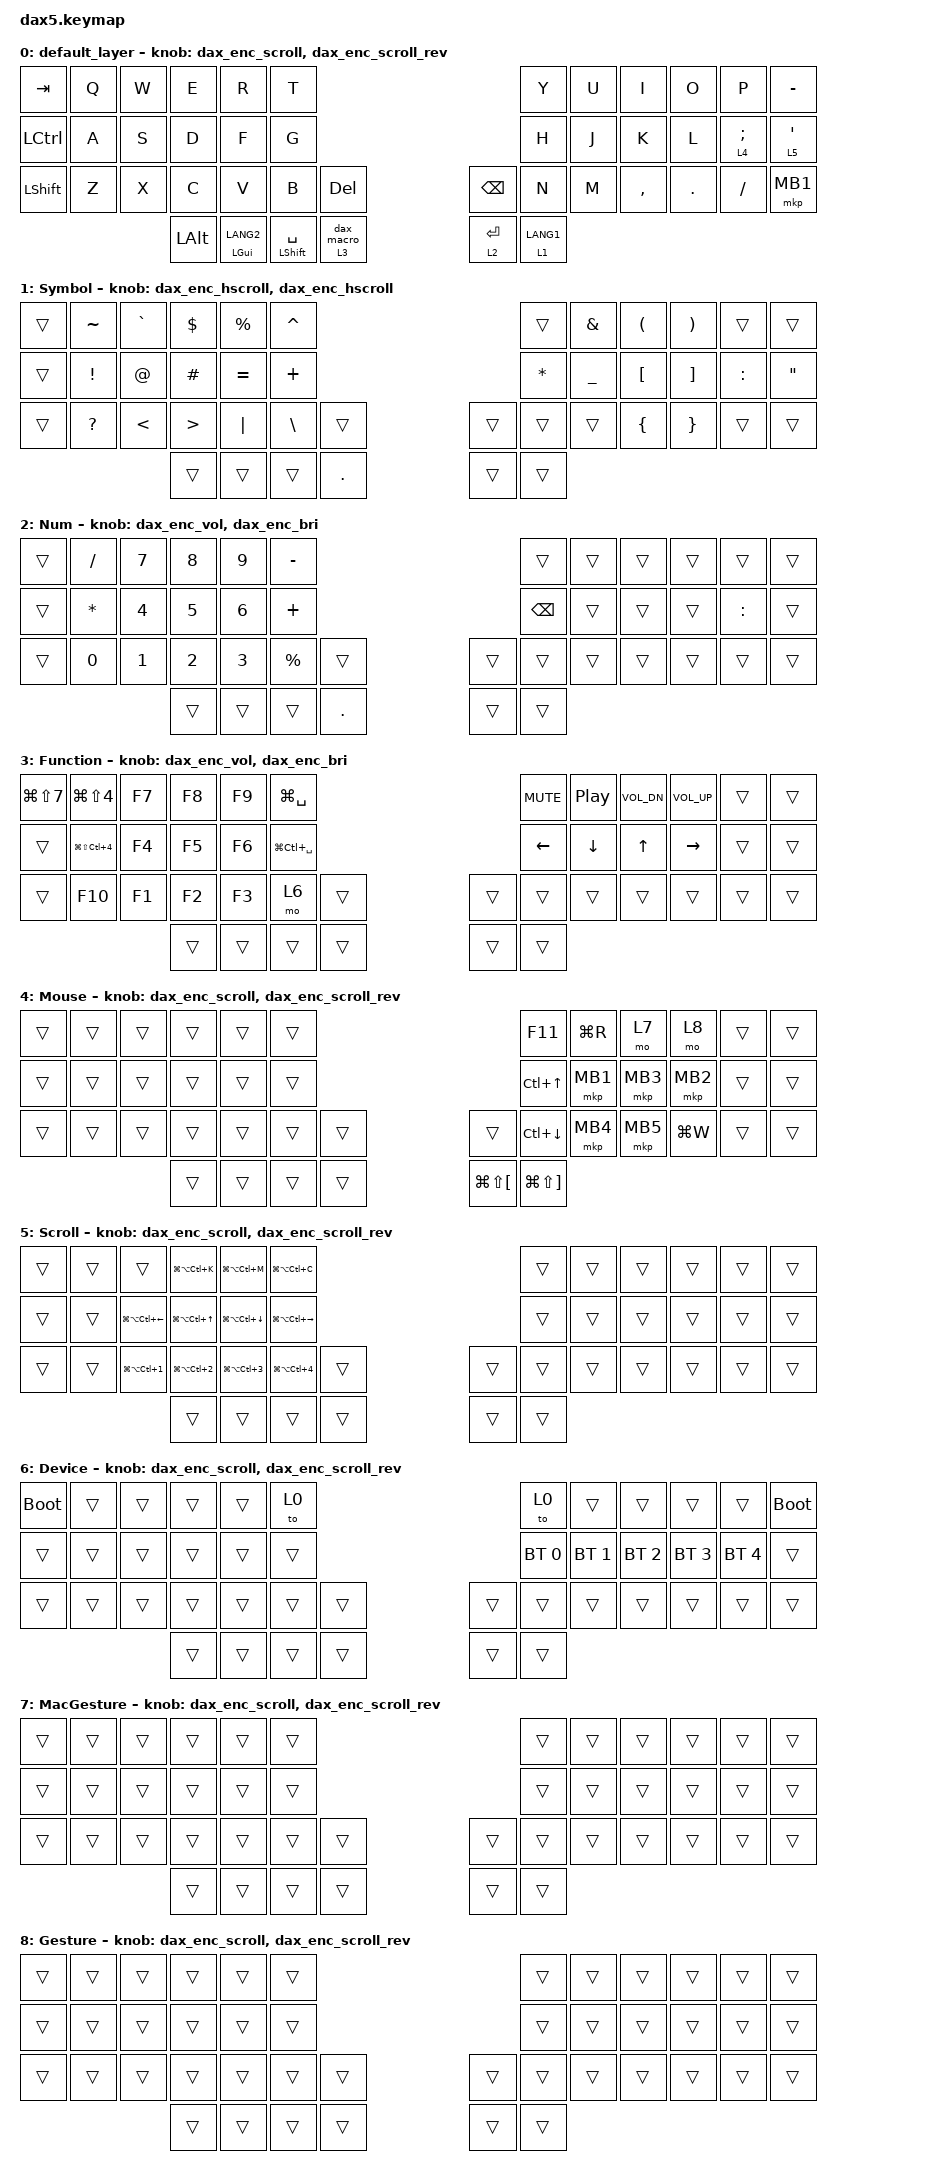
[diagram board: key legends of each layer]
#define ZMK_POINTING_DEFAULT_SCRL_VAL 120

#include <behaviors.dtsi>
#include <behaviors/dax_macro.dtsi>
#include <dt-bindings/zmk/bt.h>
#include <dt-bindings/zmk/keys.h>
#include <dt-bindings/zmk/pointing.h>

#define MOUSE 4
#define SCROLL 5
#define NUM 6
#define MAC_GESTURE 7
#define GESTURE 8

#include "gestures.dtsi"

&mt {
    quick-tap-ms = <0>;
    tapping-term-ms = <160>;
    flavor = "balanced";
};

&lt {
    flavor = "balanced";
    tapping-term-ms = <160>;
    quick-tap-ms = <0>;
};

/ {
    // Compile-time defaults for the runtime combos (`dax_combo`). A
    // slot edited or deleted from a settings app keeps that stored value.
    runtime_combo_defaults {
        compatible = "dax,runtime-combo-defaults";

        mo_device {
            slot = <0>;
            bindings = <&mo 6>;
            key-positions = <0 29>;
            layers = <0>;
        };

        kl_scroll {
            slot = <1>;
            bindings = <&mo 5>;
            key-positions = <20 21>;
            layers = <0>;
        };

        to_device_l {
            slot = <2>;
            bindings = <&to 6>;
            key-positions = <0 12 24>;
            layers = <0>;
        };

        to_device_r {
            slot = <3>;
            bindings = <&to 6>;
            key-positions = <11 23 37>;
            layers = <0>;
        };
    };

    // Compile-time defaults for the macros (`dax_macro`), each in a fixed slot. A slot
    // edited or deleted from a settings app keeps that stored value.
    // `esc_lang2_with_layer` passes the slot number of esc_lang2 as its tap parameter.
    runtime_macro_defaults {
        compatible = "dax,runtime-macro-defaults";

        esc_lang2 {
            slot = <0>;
            bindings = <&macro_tap>, <&kp ESCAPE &kp LANG2>;
            wait-ms = <15>;
        };
    };

    // The dax_enc_* behaviors below (zmk-dax-modules' dax,behavior-encoder) are the
    // encoders' defaults. A settings app changes the binding of each sensor, layer
    // and direction at runtime, and a layer is editable there only when its
    // sensor-bindings name one of them. Every variant sets tap-ms to 20, including
    // the &kp ones: &msc ticks every 16 ms, and an app may keep a layer's tap-ms
    // when it rebinds, so the binding default of 5 would leave a later &msc silent.
    behaviors {
        esc_lang2_with_layer: esc_lang2_with_layer {
            compatible = "zmk,behavior-hold-tap";
            display-name = "Layer-Macro";
            bindings = <&mo>, <&dax_macro>;
            #binding-cells = <2>;
            tapping-term-ms = <160>;
            flavor = "balanced";
        };

        dax_enc_scroll: dax_enc_scroll {
            compatible = "dax,behavior-encoder";
            #sensor-binding-cells = <0>;
            tap-ms = <20>;
            cw-binding = <&msc SCRL_UP>;
            ccw-binding = <&msc SCRL_DOWN>;
        };

        dax_enc_scroll_rev: dax_enc_scroll_rev {
            compatible = "dax,behavior-encoder";
            #sensor-binding-cells = <0>;
            tap-ms = <20>;
            cw-binding = <&msc SCRL_DOWN>;
            ccw-binding = <&msc SCRL_UP>;
        };

        dax_enc_hscroll: dax_enc_hscroll {
            compatible = "dax,behavior-encoder";
            #sensor-binding-cells = <0>;
            tap-ms = <20>;
            cw-binding = <&msc SCRL_RIGHT>;
            ccw-binding = <&msc SCRL_LEFT>;
        };

        dax_enc_vol: dax_enc_vol {
            compatible = "dax,behavior-encoder";
            #sensor-binding-cells = <0>;
            tap-ms = <20>;
            cw-binding = <&kp C_VOL_DN>;
            ccw-binding = <&kp C_VOL_UP>;
        };

        dax_enc_bri: dax_enc_bri {
            compatible = "dax,behavior-encoder";
            #sensor-binding-cells = <0>;
            tap-ms = <20>;
            cw-binding = <&kp C_BRI_INC>;
            ccw-binding = <&kp C_BRI_DEC>;
        };
    };


    keymap {
        compatible = "zmk,keymap";

        default_layer {
            bindings = <
&kp TAB      &kp Q   &kp W   &kp E      &kp R            &kp T                                                                            &kp Y         &kp U   &kp I       &kp O     &kp P             &kp MINUS
&kp LCTRL    &kp A   &kp S   &kp D      &kp F            &kp G                                                                            &kp H         &kp J   &kp K       &kp L     &lt 4 SEMICOLON   &lt 5 SQT
&kp LSHIFT   &kp Z   &kp X   &kp C      &kp V            &kp B              &kp DELETE                                    &kp BACKSPACE   &kp N         &kp M   &kp COMMA   &kp DOT   &kp SLASH         &mkp MB1
                             &kp LALT   &mt LGUI LANG2   &mt LSHIFT SPACE   &esc_lang2_with_layer 3 0                     &lt 2 ENTER     &lt 1 LANG1
            >;

            sensor-bindings = <&dax_enc_scroll>, <&dax_enc_scroll_rev>;
        };

        Symbol {
            bindings = <
&trans   &kp TILDE   &kp GRAVE   &kp DLLR   &kp PRCNT   &kp CARET                                          &trans     &kp AMPS    &kp LEFT_PARENTHESIS   &kp RIGHT_PARENTHESIS   &trans      &trans
&trans   &kp EXCL    &kp AT      &kp HASH   &kp EQUAL   &kp PLUS                                           &kp STAR   &kp UNDER   &kp LEFT_BRACKET       &kp RIGHT_BRACKET       &kp COLON   &kp DQT
&trans   &kp QMARK   &kp LT      &kp GT     &kp PIPE    &kp BACKSLASH   &trans                    &trans   &trans     &trans      &kp LEFT_BRACE         &kp RIGHT_BRACE         &trans      &trans
                                 &trans     &trans      &trans          &kp DOT                   &trans   &trans
            >;

            sensor-bindings = <&dax_enc_hscroll>, <&dax_enc_hscroll>;
        };

        Num {
            bindings = <
&trans   &kp SLASH   &kp N7   &kp N8   &kp N9   &kp MINUS                                      &trans          &trans   &trans   &trans   &trans      &trans
&trans   &kp STAR    &kp N4   &kp N5   &kp N6   &kp PLUS                                       &kp BACKSPACE   &trans   &trans   &trans   &kp COLON   &trans
&trans   &kp N0      &kp N1   &kp N2   &kp N3   &kp PRCNT   &trans                    &trans   &trans          &trans   &trans   &trans   &trans      &trans
                              &trans   &trans   &trans      &kp DOT                   &trans   &trans
            >;

            sensor-bindings = <&dax_enc_vol>, <&dax_enc_bri>;
        };

        Function {
            bindings = <
&kp LG(LS(N7))   &kp LG(LS(N4))       &kp F7   &kp F8   &kp F9   &kp LG(SPACE)                                         &kp C_MUTE   &kp C_PP   &kp C_VOL_DN   &kp C_VOL_UP   &trans   &trans
&trans           &kp LG(LS(LC(N4)))   &kp F4   &kp F5   &kp F6   &kp LG(LC(SPACE))                                     &kp LEFT     &kp DOWN   &kp UP         &kp RIGHT      &trans   &trans
&trans           &kp F10              &kp F1   &kp F2   &kp F3   &mo 6               &trans                   &trans   &trans       &trans     &trans         &trans         &trans   &trans
                                               &trans   &trans   &trans              &trans                   &trans   &trans
            >;

            sensor-bindings = <&dax_enc_vol>, <&dax_enc_bri>;
        };

        Mouse {
            bindings = <
&trans   &trans   &trans   &trans   &trans   &trans                                                       &kp F11                     &kp LG(R)   &mo 7      &mo 8             &trans   &trans
&trans   &trans   &trans   &trans   &trans   &trans                                                       &kp LC(UP)                  &mkp MB1    &mkp MB3   &mkp MB2         &trans   &trans
&trans   &trans   &trans   &trans   &trans   &trans   &trans                   &trans                     &kp LC(DOWN)                &mkp MB4    &mkp MB5   &kp LG(W)        &trans   &trans
                           &trans   &trans   &trans   &trans                   &kp LG(LS(LEFT_BRACKET))   &kp LG(LS(RIGHT_BRACKET))
            >;

            sensor-bindings = <&dax_enc_scroll>, <&dax_enc_scroll_rev>;
        };

        Scroll {
            bindings = <
&trans   &trans   &trans                 &kp LG(LA(LC(K)))    &kp LG(LA(LC(M)))      &kp LG(LA(LC(C)))                                         &trans   &trans   &trans   &trans   &trans   &trans
&trans   &trans   &kp LG(LA(LC(LEFT)))   &kp LG(LA(LC(UP)))   &kp LG(LA(LC(DOWN)))   &kp LG(LA(LC(RIGHT)))                                     &trans   &trans   &trans   &trans   &trans   &trans
&trans   &trans   &kp LG(LA(LC(N1)))     &kp LG(LA(LC(N2)))   &kp LG(LA(LC(N3)))     &kp LG(LA(LC(N4)))      &trans                   &trans   &trans   &trans   &trans   &trans   &trans   &trans
                                         &trans               &trans                 &trans                  &trans                   &trans   &trans
            >;

            sensor-bindings = <&dax_enc_scroll>, <&dax_enc_scroll_rev>;
        };

        Device {
            bindings = <
&bootloader   &trans   &trans   &trans   &trans   &to 0                                      &to 0          &trans         &trans         &trans         &trans         &bootloader
&trans        &trans   &trans   &trans   &trans   &trans                                     &bt BT_SEL 0   &bt BT_SEL 1   &bt BT_SEL 2   &bt BT_SEL 3   &bt BT_SEL 4   &trans
&trans        &trans   &trans   &trans   &trans   &trans   &trans                   &trans   &trans         &trans         &trans         &trans         &trans         &trans
                                &trans   &trans   &trans   &trans                   &trans   &trans
            >;

            sensor-bindings = <&dax_enc_scroll>, <&dax_enc_scroll_rev>;
        };

        MacGesture {
            bindings = <
&trans   &trans   &trans   &trans   &trans   &trans                                     &trans   &trans   &trans   &trans   &trans   &trans
&trans   &trans   &trans   &trans   &trans   &trans                                     &trans   &trans   &trans   &trans   &trans   &trans
&trans   &trans   &trans   &trans   &trans   &trans   &trans                   &trans   &trans   &trans   &trans   &trans   &trans   &trans
                           &trans   &trans   &trans   &trans                   &trans   &trans
            >;

            sensor-bindings = <&dax_enc_scroll>, <&dax_enc_scroll_rev>;
        };

        // Held from the Mouse layer, like MacGesture. Neither changes a key: they exist so that
        // the gesture processor has a layer to tell "gestures on" by (config/gestures.dtsi).
        Gesture {
            bindings = <
&trans   &trans   &trans   &trans   &trans   &trans                                     &trans   &trans   &trans   &trans   &trans   &trans
&trans   &trans   &trans   &trans   &trans   &trans                                     &trans   &trans   &trans   &trans   &trans   &trans
&trans   &trans   &trans   &trans   &trans   &trans   &trans                   &trans   &trans   &trans   &trans   &trans   &trans   &trans
                           &trans   &trans   &trans   &trans                   &trans   &trans
            >;

            sensor-bindings = <&dax_enc_scroll>, <&dax_enc_scroll_rev>;
        };
    };
};
